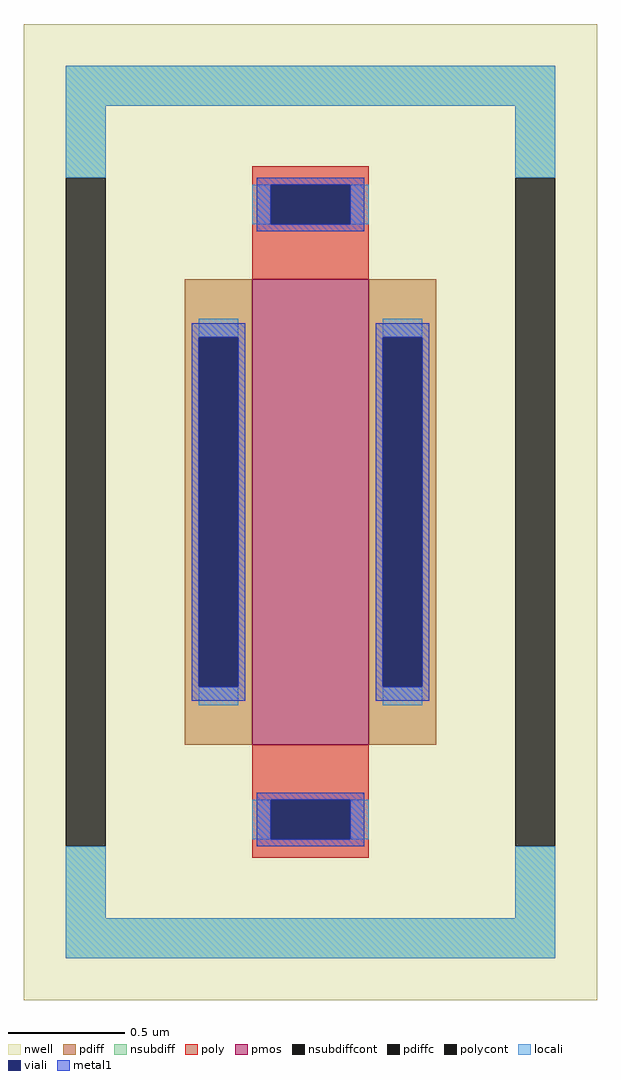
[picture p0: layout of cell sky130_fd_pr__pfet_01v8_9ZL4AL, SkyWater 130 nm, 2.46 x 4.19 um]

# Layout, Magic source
magic
tech sky130A
magscale 1 2
<< nwell >>
rect -246 -419 246 419
<< pmos >>
rect -50 -200 50 200
<< pdiff >>
rect -108 150 -50 200
rect -108 -150 -96 150
rect -62 -150 -50 150
rect -108 -200 -50 -150
rect 50 150 108 200
rect 50 -150 62 150
rect 96 -150 108 150
rect 50 -200 108 -150
<< pdiffc >>
rect -96 -150 -62 150
rect 62 -150 96 150
<< nsubdiff >>
rect -210 349 210 383
rect -210 287 -176 349
rect 176 287 210 349
rect -210 -349 -176 -287
rect 176 -349 210 -287
rect -210 -383 210 -349
<< nsubdiffcont >>
rect -210 -287 -176 287
rect 176 -287 210 287
<< poly >>
rect -50 281 50 297
rect -50 247 -34 281
rect 34 247 50 281
rect -50 200 50 247
rect -50 -247 50 -200
rect -50 -281 -34 -247
rect 34 -281 50 -247
rect -50 -297 50 -281
<< polycont >>
rect -34 247 34 281
rect -34 -281 34 -247
<< locali >>
rect -210 349 210 383
rect -210 287 -176 349
rect 176 287 210 349
rect -50 247 -34 281
rect 34 247 50 281
rect -96 150 -62 166
rect -96 -166 -62 -150
rect 62 150 96 166
rect 62 -166 96 -150
rect -50 -281 -34 -247
rect 34 -281 50 -247
rect -210 -349 -176 -287
rect 176 -349 210 -287
rect -210 -383 210 -349
<< viali >>
rect -34 247 34 281
rect -96 -150 -62 150
rect 62 -150 96 150
rect -34 -281 34 -247
<< metal1 >>
rect -46 281 46 287
rect -46 247 -34 281
rect 34 247 46 281
rect -46 241 46 247
rect -102 150 -56 162
rect -102 -150 -96 150
rect -62 -150 -56 150
rect -102 -162 -56 -150
rect 56 150 102 162
rect 56 -150 62 150
rect 96 -150 102 150
rect 56 -162 102 -150
rect -46 -247 46 -241
rect -46 -281 -34 -247
rect 34 -281 46 -247
rect -46 -287 46 -281
<< properties >>
string gencell sky130_fd_pr__pfet_01v8
string FIXED_BBOX -193 -366 193 366
string parameters w 2 l 0.5 m 1 nf 1 diffcov 80 polycov 100 guard 1 glc 1 grc 1 gtc 0 gbc 0 tbcov 100 rlcov 100 topc 1 botc 1 poverlap 0 doverlap 1 lmin 0.15 wmin 0.42 compatible {sky130_fd_pr__pfet_01v8  sky130_fd_pr__pfet_01v8_lvt sky130_fd_pr__pfet_01v8_hvt  sky130_fd_pr__pfet_g5v0d10v5} full_metal 1 viasrc 80 viadrn 80 viagate 100 viagb 0 viagr 0 viagl 0 viagt 0
string library sky130
<< end >>
